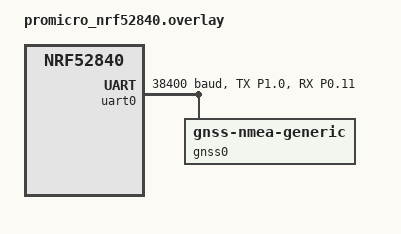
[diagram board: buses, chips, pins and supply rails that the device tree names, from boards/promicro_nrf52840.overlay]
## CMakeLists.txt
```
cmake_minimum_required(VERSION 3.20.0)

find_package(Zephyr REQUIRED HINTS $ENV{ZEPHYR_BASE})

project(uart_gps_driver)

target_sources(app PRIVATE src/main.c)

target_include_directories(app PRIVATE 
    include
)
```

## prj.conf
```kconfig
CONFIG_SERIAL=y
CONFIG_GPIO=y

# Enable Interrupt Driven UART (Required by GNSS driver subsystem)
CONFIG_UART_INTERRUPT_DRIVEN=y

# Enable Native Zephyr GNSS Subsystem & NMEA Generic Parser
CONFIG_GNSS=y
CONFIG_GNSS_NMEA_GENERIC=y

# Heap memory allocation for driver initializations and malloc calls
CONFIG_HEAP_MEM_POOL_SIZE=4096

# Enable UF2 Build Outputs
CONFIG_BUILD_OUTPUT_UF2=y

# ===================================================================
# ZEPHYR LOGGING SYSTEM CONFIGURATIONS
# ===================================================================
CONFIG_LOG=y
CONFIG_LOG_MODE_DEFERRED=y

# Set Global Log Levels (Default minimal level across the system)
CONFIG_LOG_DEFAULT_LEVEL=3
```

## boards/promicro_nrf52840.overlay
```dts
&pinctrl {
    uart0_custom: uart0_custom {
        group1 {
            psels = <NRF_PSEL(UART_TX, 1, 0)>,
                    <NRF_PSEL(UART_RX, 0, 11)>;
        };
    };

    uart0_custom_sleep: uart0_custom_sleep {
        group1 {
            psels = <NRF_PSEL(UART_TX, 1, 0)>,
                    <NRF_PSEL(UART_RX, 0, 11)>;
            /* Pro-tip: Low power configuration optimizes current consumption when sleeping */
            low-power-enable; 
        };
    };
};

&uart0 {
    status = "okay";
    current-speed = <38400>;
    pinctrl-0 = <&uart0_custom>;
    pinctrl-1 = <&uart0_custom_sleep>;
    pinctrl-names = "default", "sleep";

    /* The GNSS driver lives right inside your custom-pinned UART0 node */
    gnss0: gnss-nmea-generic {
        compatible = "gnss-nmea-generic";
        status = "okay";
    };
};
```

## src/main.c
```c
#include <zephyr/kernel.h>
#include <zephyr/device.h>
#include <zephyr/drivers/gnss.h>
#include <zephyr/sys/timeutil.h>
#include <zephyr/logging/log.h> /* Included Zephyr Logging module API */
#include <stdio.h>
#include <stdlib.h>
#include <string.h>

#include "app_config.h"
#include "gps_protocol.h"

/* Register the logger instance module for this specific source file */
LOG_MODULE_REGISTER(gps_app, LOG_LEVEL_DBG);

/* Dynamic Ring Buffer Context */
typedef struct {
    GPS_Point_Fast_t data[BUFFER_MAX_POINTS];
    uint16_t head;
    uint16_t tail;
    uint16_t count;
    struct k_mutex lock;
} GPS_RingBuffer_t;

/* Static Initializations */
static GPS_RingBuffer_t gps_ring_buf;
K_SEM_DEFINE(sem_process_batch, 0, 1); 

static const struct device *gnss_dev = DEVICE_DT_GET(DT_NODELABEL(gnss0));

/* ===================================================================
 * RING BUFFER CORE LOGIC (ASYNC SAFE)
 * =================================================================== */
void ring_buffer_init(GPS_RingBuffer_t *buf)
{
    buf->head = 0;
    buf->tail = 0;
    buf->count = 0;
    k_mutex_init(&buf->lock);
}

void ring_buffer_push(GPS_RingBuffer_t *buf, const GPS_Point_Fast_t *point)
{
    k_mutex_lock(&buf->lock, K_FOREVER);

    buf->data[buf->head] = *point;
    buf->head = (buf->head + 1) % BUFFER_MAX_POINTS;

    if (buf->count < BUFFER_MAX_POINTS) {
        buf->count++;
    } else {
        buf->tail = (buf->tail + 1) % BUFFER_MAX_POINTS;
        LOG_WRN("Buffer Overflow Warning: Overwriting oldest stored GPS point!");
    }

    if (buf->count >= BATCH_SEND_THRESHOLD) {
        k_sem_give(&sem_process_batch);
    }

    k_mutex_unlock(&buf->lock);
}

int ring_buffer_pop_batch(GPS_RingBuffer_t *buf, GPS_Point_Fast_t *out_array, uint16_t requested_count)
{
    k_mutex_lock(&buf->lock, K_FOREVER);

    if (buf->count < requested_count) {
        k_mutex_unlock(&buf->lock);
        return -EAGAIN;
    }

    for (uint16_t i = 0; i < requested_count; i++) {
        out_array[i] = buf->data[buf->tail];
        buf->tail = (buf->tail + 1) % BUFFER_MAX_POINTS;
        buf->count--;
    }

    k_mutex_unlock(&buf->lock);
    return 0;
}

/* ===================================================================
 * ASYNCHRONOUS PACKING & TRANSMISSION TASK
 * =================================================================== */
void tx_processing_thread(void *p1, void *p2, void *p3)
{
    ARG_UNUSED(p1); ARG_UNUSED(p2); ARG_UNUSED(p3);
    
    GPS_Point_Fast_t processing_space[BATCH_SEND_THRESHOLD];
    
    size_t header_sz = 2; 
    size_t packed_payload_sz = header_sz + (BATCH_SEND_THRESHOLD * sizeof(GPS_Point_Packed_t));
    uint8_t *tx_buffer = malloc(packed_payload_sz);

    LOG_INF("Async Transmission Worker Thread Initialized.");

    while (1) {
        k_sem_take(&sem_process_batch, K_FOREVER);

        if (ring_buffer_pop_batch(&gps_ring_buf, processing_space, BATCH_SEND_THRESHOLD) == 0) {
            
            if (!tx_buffer) {
                LOG_ERR("Dynamic heap allocation failed, cannot pack packet.");
                continue;
            }

            /* Write Custom Header [Magic Byte][Point Count] from app_config.h */
            tx_buffer[0] = PACKET_MAGIC_BYTE;
            tx_buffer[1] = (uint8_t)BATCH_SEND_THRESHOLD;

            /* Compress and pack data into payload buffer */
            uint8_t *payload_ptr = tx_buffer + header_sz;
            for (int i = 0; i < BATCH_SEND_THRESHOLD; i++) {
                GPS_Point_Packed_t packed_point = {
                    .unix_time       = processing_space[i].unix_time,
                    .lat_e7          = processing_space[i].lat_e7,
                    .lon_e7          = processing_space[i].lon_e7,
                    .alt_m           = processing_space[i].alt_m,
                    .speed_kph_x10   = processing_space[i].speed_kph_x10,
                    .hdop_x10        = processing_space[i].hdop_x10
                };
                
                memcpy(payload_ptr, &packed_point, sizeof(GPS_Point_Packed_t));
                payload_ptr += sizeof(GPS_Point_Packed_t);
            }

            /* Log Compiled Packet Metrics using standard logging macros */
            LOG_INF("Async Packet Compiled. Total Size: %u bytes", (unsigned int)packed_payload_sz);
            
            /* Zephyr's built-in hex-dump logging utility */
            LOG_HEXDUMP_INF(tx_buffer, packed_payload_sz, "Compiled Network Payload Hex:");

            /* Placeholder for MQTT publishing step... */
        }
    }
}

K_THREAD_DEFINE(tx_thread_id, TX_THREAD_STACK_SIZE, tx_processing_thread, 
                NULL, NULL, NULL, K_PRIO_COOP(TX_THREAD_PRIORITY), 0, 0);

/* ===================================================================
 * GNSS DATA EVENT CALLBACK
 * =================================================================== */
static void gnss_data_cb(const struct device *dev, const struct gnss_data *data)
{
    if (data->info.fix_status < GNSS_FIX_STATUS_GNSS_FIX) {
        LOG_DBG("Searching for satellites... (No Fix)");
        return;
    }

    struct tm tm_time = {
        .tm_sec  = (int)(data->utc.millisecond / 1000), 
        .tm_min  = data->utc.minute,
        .tm_hour = data->utc.hour,
        .tm_mday = data->utc.month_day,
        .tm_mon  = data->utc.month - 1,                 
        .tm_year = data->utc.century_year + 100,        
    };
    uint32_t real_unix_epoch = (uint32_t)timeutil_timegm(&tm_time);

    int32_t lat_scaled_e7 = (int32_t)(data->nav_data.latitude / 100LL);
    int32_t lon_scaled_e7 = (int32_t)(data->nav_data.longitude / 100LL);
    int16_t altitude_m    = (int16_t)(data->nav_data.altitude / 1000);
    uint16_t dynamic_speed_kph_x10 = (uint16_t)((data->nav_data.speed * 36) / 1000);
    uint8_t hdop_scaled_x10 = (uint8_t)(data->info.hdop / 100);

    GPS_Point_Fast_t current_point = {
        .unix_time     = real_unix_epoch,
        .lat_e7        = lat_scaled_e7,
        .lon_e7        = lon_scaled_e7,
        .alt_m         = altitude_m,
        .speed_kph_x10 = dynamic_speed_kph_x10,
        .hdop_x10      = hdop_scaled_x10
    };

    /* Standardized Debug Logging output statement */
    LOG_DBG("[GNSS Ingest] Lat: %d, Lon: %d, Alt: %dm, Speed: %u (x10), HDOP: %u (x10), UTC: %u", 
            current_point.lat_e7, current_point.lon_e7, current_point.alt_m, 
            current_point.speed_kph_x10, current_point.hdop_x10, current_point.unix_time);

    ring_buffer_push(&gps_ring_buf, &current_point);
}

GNSS_DATA_CALLBACK_DEFINE(DEVICE_DT_GET(DT_NODELABEL(gnss0)), gnss_data_cb);

/* ===================================================================
 * MAIN SYSTEM ENTRY POINT
 * =================================================================== */
int main(void)
{
    LOG_INF("Initializing Subsystem Application Layer...");
    ring_buffer_init(&gps_ring_buf);

    if (!device_is_ready(gnss_dev)) {
        LOG_ERR("GNSS driver device interface not ready!");
        return -1;
    }

    LOG_INF("GNSS Driver Active & Ring Buffer Running. Threshold: %d points.", BATCH_SEND_THRESHOLD);

    while (1) {
        k_sleep(K_FOREVER);
    }
    return 0;
}
```

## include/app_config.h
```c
#ifndef APP_CONFIG_H
#define APP_CONFIG_H

/* Ring Buffer Configurations */
#define BUFFER_MAX_POINTS     32   /* Total capacity of the internal circular queue */
#define BATCH_SEND_THRESHOLD  10   /* Configurable number of points needed to trigger a send */

/* Protocol Framing Constants */
#define PACKET_MAGIC_BYTE     0xAA /* Unique prefix byte to identify valid telemetry packets */

/* Thread Execution Parameters */
#define TX_THREAD_STACK_SIZE  2048
#define TX_THREAD_PRIORITY    7    /* Cooperative priority level */

#endif /* APP_CONFIG_H */
```

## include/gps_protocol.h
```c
#ifndef GPS_PROTOCOL_H
#define GPS_PROTOCOL_H

#include <zephyr/types.h>

/* Fast CPU Alignment Structure (No Padding Waste, Perfectly Sorted) */
typedef struct {
    uint32_t unix_time;      /* 4-byte aligned (True UTC Epoch) */
    int32_t lat_e7;          /* 4-byte aligned */
    int32_t lon_e7;          /* 4-byte aligned */
    int16_t alt_m;           /* 2-byte aligned */
    uint16_t speed_kph_x10;  /* 2-byte aligned */
    uint8_t hdop_x10;        /* 1-byte aligned */
    uint8_t reserved;        /* 1-byte padding to maintain 4-byte memory boundary */
} GPS_Point_Fast_t;

/* Packed Structure for Network Transmission (Exactly 17 bytes) */
typedef struct __attribute__((packed)) {
    uint32_t unix_time;
    int32_t lat_e7;
    int32_t lon_e7;
    int16_t alt_m;
    uint16_t speed_kph_x10;
    uint8_t hdop_x10;
} GPS_Point_Packed_t;

#endif /* GPS_PROTOCOL_H */
```
